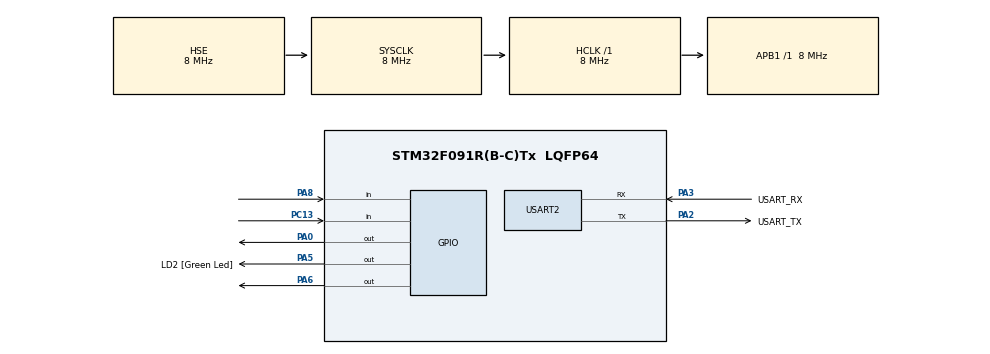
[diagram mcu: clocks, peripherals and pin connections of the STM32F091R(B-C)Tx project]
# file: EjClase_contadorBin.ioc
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Mcu.Family=STM32F0
Mcu.Name=STM32F091R(B-C)Tx
Mcu.Package=LQFP64
PA0.Signal=GPIO_Output
PA13.GPIO_Label=TMS
PA13.Mode=Serial_Wire
PA13.Signal=SYS_SWDIO
PA14.GPIO_Label=TCK
PA14.Mode=Serial_Wire
PA14.Signal=SYS_SWCLK
PA2.GPIO_Label=USART_TX
PA2.GPIO_Mode=GPIO_MODE_AF_PP
PA2.GPIO_PuPd=GPIO_NOPULL
PA2.GPIO_Speed=GPIO_SPEED_FREQ_LOW
PA2.Mode=Asynchronous
PA2.Signal=USART2_TX
PA3.GPIO_Label=USART_RX
PA3.GPIO_Mode=GPIO_MODE_AF_PP
PA3.GPIO_PuPd=GPIO_NOPULL
PA3.GPIO_Speed=GPIO_SPEED_FREQ_LOW
PA3.Mode=Asynchronous
PA3.Signal=USART2_RX
PA5.GPIO_Label=LD2 [Green Led]
PA5.GPIO_Mode=GPIO_MODE_OUTPUT_PP
PA5.GPIO_PuPd=GPIO_NOPULL
PA5.GPIO_Speed=GPIO_SPEED_FREQ_LOW
PA5.Signal=GPIO_Output
PA6.Signal=GPIO_Output
PA8.GPIO_PuPd=GPIO_PULLUP
PA8.Signal=GPIO_Input
PC13.Signal=GPIO_Input
PC14OSC32_IN.Mode=LSE-External-Oscillator
PC14OSC32_IN.Signal=RCC_OSC32_IN
PC15OSC32_OUT.Mode=LSE-External-Oscillator
PC15OSC32_OUT.Signal=RCC_OSC32_OUT
PF0-OSC_IN.Mode=HSE-External-Clock-Source
PF0-OSC_IN.Signal=RCC_OSC_IN
PF1-OSC_OUT.Signal=RCC_OSC_OUT
ProjectManager.HeapSize=0x200
ProjectManager.StackSize=0x400
ProjectManager.TargetToolchain=CMake
RCC.AHBFreq_Value=8000000
RCC.APB1Freq_Value=8000000
RCC.APB1TimFreq_Value=8000000
RCC.FLatency-AdvancedSettings=FLASH_LATENCY_0
RCC.HCLKFreq_Value=8000000
RCC.PLLDivider=RCC_PREDIV_DIV2
RCC.PLLMUL=RCC_PLL_MUL12
RCC.PREFETCH_ENABLE-AdvancedSettings=1
RCC.SYSCLKFreq_VALUE=8000000
RCC.SYSCLKSource=RCC_SYSCLKSOURCE_HSE
USART2.VirtualMode=VM_ASYNC
USART2.VirtualMode-Asynchronous=VM_ASYNC
board=NUCLEO-F091RC

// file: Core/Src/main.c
/* USER CODE BEGIN Header */
/**
  ******************************************************************************
  * @file           : main.c
  * @brief          : Main program body
  ******************************************************************************
  * @attention
  *
  * Copyright (c) 2026 STMicroelectronics.
  * All rights reserved.
  *
  * This software is licensed under terms that can be found in the LICENSE file
  * in the root directory of this software component.
  * If no LICENSE file comes with this software, it is provided AS-IS.
  *
  ******************************************************************************
  */
/* USER CODE END Header */
#include "main.h"
#include "stm32f091xc.h"
#include "stm32f0xx_hal.h"
#include <stdint.h>
#include <sys/types.h>

UART_HandleTypeDef huart2;

void SystemClock_Config(void);
static void MX_GPIO_Init(void);
static void MX_USART2_UART_Init(void);

/* USER CODE BEGIN PFP */
void mostrarContador(uint8_t contador){
    switch (contador){
      case 7:
        GPIOA->BSRR = (1UL << 0) | (1UL << 5) | (1UL << 6);
        break;
      case 6:
        GPIOA->BSRR = (1UL) | (1UL << 5) | (1UL << 22);
        break;
      case 5:
        GPIOA->BSRR = (1UL) | (1UL << 21) | (1UL << 6);
        break;
      case 4:
        GPIOA->BSRR = (1UL) | (1UL << 21) | (1UL << 22);
        break;
      case 3:
        GPIOA->BSRR = (1UL << 16) | (1UL << 5) | (1UL << 6);
        break;
      case 2:
        GPIOA->BSRR = (1UL << 16) | (1UL << 5) | (1UL << 22);
        break;
      case 1:
        GPIOA->BSRR = (1UL << 16) | (1UL << 21) | (1UL << 6);
        break;
      case 0:
        GPIOA->BSRR = (1UL << 16) | (1UL << 21) | (1UL << 22);
        break;
      default:
        GPIOA->BSRR = (1UL << 0) | (1UL << 5) | (1UL << 6);
        break;
    }
}
/* USER CODE END PFP */

int main(void)
{

  /* USER CODE BEGIN 1 */
  uint8_t contador = 0;
  mostrarContador(contador);
  /* USER CODE END 1 */

  /* MCU Configuration--------------------------------------------------------*/

  /* Reset of all peripherals, Initializes the Flash interface and the Systick. */
  HAL_Init();

  /* Configure the system clock */
  SystemClock_Config();

  /* Initialize all configured peripherals */
  MX_GPIO_Init();
  MX_USART2_UART_Init();

  /* Infinite loop */
  /* USER CODE BEGIN WHILE */
  while (1)
  {
    //Inicializamos una función arriba
    //Esto es una chapuza, vamos a usar interrupciones para la gestión de las GPIOs, no if y while, IMP la clase del lunes
    if((GPIOA->IDR & (1UL << 8)) == 0){//Hacemos reset cada vez que pulsamos PA8, problema, solo funciona a veces
      //si estamos pulsando el botón azul no hace el reset
      contador = 0;
      mostrarContador(contador);
    }
    if((GPIOC->IDR & (1UL << 13)) == 0)//Se ha pulsado el botón azul
    {
      contador++;
      if(contador >= 8){
        contador = 0;
      }
      mostrarContador(contador);
      uint16_t temporizador = 0; //Como tiene que llegar a 1000, no nos vale que sea de 8bits (solo llega a 255). IMPORTANTE, no declarar
      //variables así pq si, gestionar bien la memoria, si podemos la declaramos dentro de la función
      while((GPIOC->IDR & (1UL << 13)) == 0){
        HAL_Delay(1);
        //Contamos el tiempo que pasa mientras pulsamos, y cada segundo sumamos 1 al contador
        if((GPIOA->IDR & (1UL << 8)) == 0){
          contador = 0;
          mostrarContador(contador);
          temporizador = 0;
        }
        temporizador++;
        if(temporizador == 1000){//Cada segundo sumamos 1 al contador
          temporizador = 0;
          contador++;
          if(contador >= 8){//Si llegamos al máximo vuelve al estado inicial
            contador = 0;
          }
          mostrarContador(contador);
          HAL_Delay(1);
        }
      }
    }
    /* USER CODE END WHILE */

  }
}

void SystemClock_Config(void)
{
  RCC_OscInitTypeDef RCC_OscInitStruct = {0};
  RCC_ClkInitTypeDef RCC_ClkInitStruct = {0};
  RCC_PeriphCLKInitTypeDef PeriphClkInit = {0};

  /** Initializes the RCC Oscillators according to the specified parameters
  * in the RCC_OscInitTypeDef structure.
  */
  RCC_OscInitStruct.OscillatorType = RCC_OSCILLATORTYPE_HSE;
  RCC_OscInitStruct.HSEState = RCC_HSE_BYPASS;
  RCC_OscInitStruct.PLL.PLLState = RCC_PLL_NONE;
  if (HAL_RCC_OscConfig(&RCC_OscInitStruct) != HAL_OK)
  {
    Error_Handler();
  }

  /** Initializes the CPU, AHB and APB buses clocks
  */
  RCC_ClkInitStruct.ClockType = RCC_CLOCKTYPE_HCLK|RCC_CLOCKTYPE_SYSCLK
                              |RCC_CLOCKTYPE_PCLK1;
  RCC_ClkInitStruct.SYSCLKSource = RCC_SYSCLKSOURCE_HSE;
  RCC_ClkInitStruct.AHBCLKDivider = RCC_SYSCLK_DIV1;
  RCC_ClkInitStruct.APB1CLKDivider = RCC_HCLK_DIV1;

  if (HAL_RCC_ClockConfig(&RCC_ClkInitStruct, FLASH_LATENCY_0) != HAL_OK)
  {
    Error_Handler();
  }
  PeriphClkInit.PeriphClockSelection = RCC_PERIPHCLK_USART2;
  PeriphClkInit.Usart2ClockSelection = RCC_USART2CLKSOURCE_PCLK1;
  if (HAL_RCCEx_PeriphCLKConfig(&PeriphClkInit) != HAL_OK)
  {
    Error_Handler();
  }
}

static void MX_USART2_UART_Init(void)
{

  huart2.Instance = USART2;
  huart2.Init.BaudRate = 115200;
  huart2.Init.WordLength = UART_WORDLENGTH_8B;
  huart2.Init.StopBits = UART_STOPBITS_1;
  huart2.Init.Parity = UART_PARITY_NONE;
  huart2.Init.Mode = UART_MODE_TX_RX;
  huart2.Init.HwFlowCtl = UART_HWCONTROL_NONE;
  huart2.Init.OverSampling = UART_OVERSAMPLING_16;
  huart2.Init.OneBitSampling = UART_ONE_BIT_SAMPLE_DISABLE;
  huart2.AdvancedInit.AdvFeatureInit = UART_ADVFEATURE_NO_INIT;
  if (HAL_UART_Init(&huart2) != HAL_OK)
  {
    Error_Handler();
  }

}

static void MX_GPIO_Init(void)
{
  GPIO_InitTypeDef GPIO_InitStruct = {0};

  /* GPIO Ports Clock Enable */
  __HAL_RCC_GPIOC_CLK_ENABLE();
  __HAL_RCC_GPIOF_CLK_ENABLE();
  __HAL_RCC_GPIOA_CLK_ENABLE();

  /*Configure GPIO pin Output Level */
  HAL_GPIO_WritePin(GPIOA, GPIO_PIN_0|LD2_Pin|GPIO_PIN_6, GPIO_PIN_RESET);

  /*Configure GPIO pin : PC13 */
  GPIO_InitStruct.Pin = GPIO_PIN_13;
  GPIO_InitStruct.Mode = GPIO_MODE_INPUT;
  GPIO_InitStruct.Pull = GPIO_NOPULL;
  HAL_GPIO_Init(GPIOC, &GPIO_InitStruct);

  /*Configure GPIO pins : PA0 LD2_Pin PA6 */
  GPIO_InitStruct.Pin = GPIO_PIN_0|LD2_Pin|GPIO_PIN_6;
  GPIO_InitStruct.Mode = GPIO_MODE_OUTPUT_PP;
  GPIO_InitStruct.Pull = GPIO_NOPULL;
  GPIO_InitStruct.Speed = GPIO_SPEED_FREQ_LOW;
  HAL_GPIO_Init(GPIOA, &GPIO_InitStruct);

  /*Configure GPIO pin : PA8 */
  GPIO_InitStruct.Pin = GPIO_PIN_8;
  GPIO_InitStruct.Mode = GPIO_MODE_INPUT;
  GPIO_InitStruct.Pull = GPIO_PULLUP;
  HAL_GPIO_Init(GPIOA, &GPIO_InitStruct);

}

void Error_Handler(void)
{
  __disable_irq();
  while (1)
  {
  }
}
